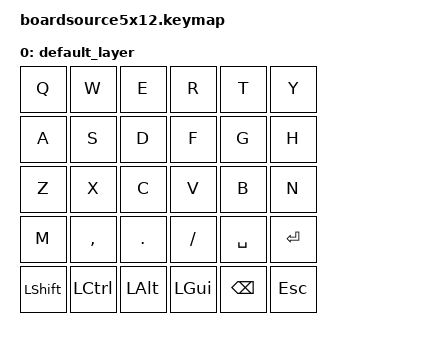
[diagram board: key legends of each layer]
/*
 * Copyright (c) 2021 The ZMK Contributors
 *
 * SPDX-License-Identifier: MIT
 */

#include <behaviors.dtsi>
#include <dt-bindings/zmk/keys.h>
#include <dt-bindings/zmk/bt.h>
#include <dt-bindings/zmk/outputs.h>
#include <behaviors.dtsi>
#include <dt-bindings/zmk/keys.h>
#include <dt-bindings/zmk/bt.h>

/ {
    keymap {
        compatible = "zmk,keymap";

        default_layer {
            bindings = <
                &kp Q &kp W &kp E &kp R &kp T &kp Y
                &kp A &kp S &kp D &kp F &kp G &kp H
                &kp Z &kp X &kp C &kp V &kp B &kp N
                &kp M &kp COMMA &kp DOT &kp SLASH &kp SPACE &kp ENTER
                &kp LSHIFT &kp LCTRL &kp LALT &kp LGUI &kp BACKSPACE &kp ESC
            >;
        };
    };
};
